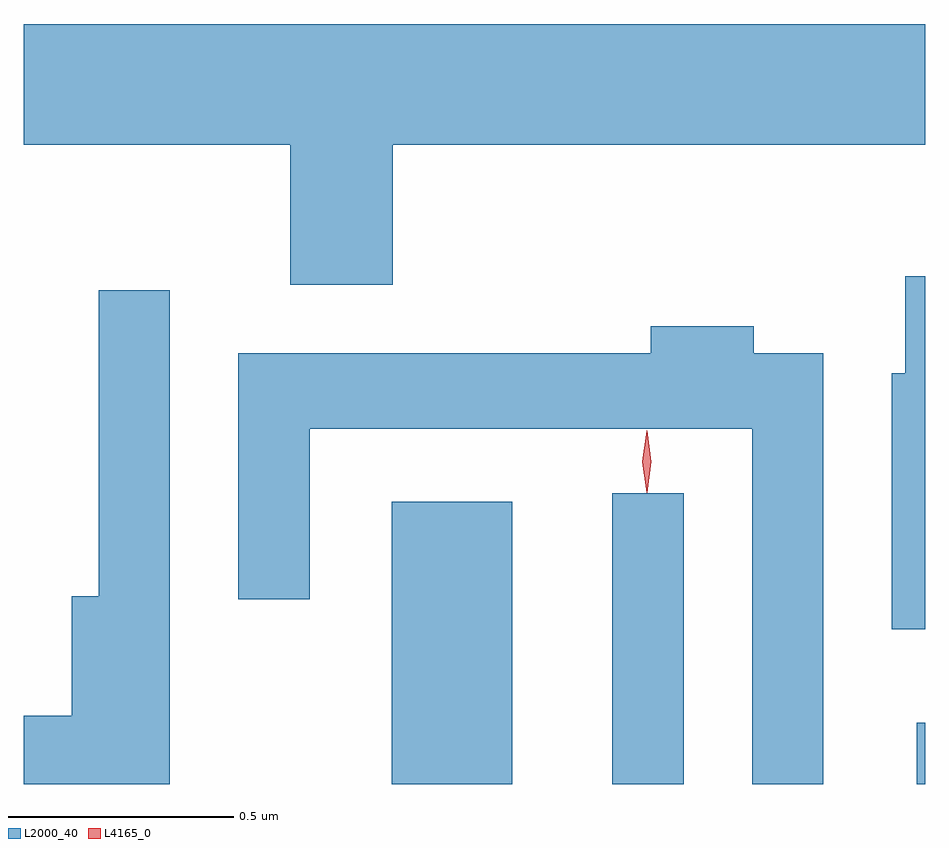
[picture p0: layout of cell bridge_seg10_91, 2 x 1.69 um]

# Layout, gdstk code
import gdstk
lib = gdstk.Library(unit=1e-6, precision=1e-09)
def R(c, l, rs):  # rectangles x0, y0, x1, y1
    for r in rs: c.add(gdstk.rectangle(r[:2], r[2:], *l))
def P(c, l, *ps):  # polygons
    for p in ps: c.add(gdstk.Polygon(p, *l))
L2000_40 = (2000, 40)
L4165_0 = (4165, 0)

bridge_seg10_91 = lib.new_cell('bridge_seg10_91')
R(bridge_seg10_91, L2000_40, [(1583.156,2203.518,1583.424,2204.144), (1583.646,2203.518,1583.804,2204.163), (1584.321,2203.518,1584.34,2203.654)])
P(bridge_seg10_91, L2000_40, [(1583.159,2204.936),(1584.34,2204.936),(1584.34,2205.204),(1582.34,2205.204),(1582.34,2204.936),(1582.931,2204.936),(1582.931,2204.626),(1583.159,2204.626)],
  [(1584.34,2204.644),(1584.296,2204.644),(1584.296,2204.429),(1584.266,2204.429),(1584.266,2203.861),(1584.34,2203.861)],
  [(1582.664,2204.613),(1582.506,2204.613),(1582.506,2203.934),(1582.446,2203.934),(1582.446,2203.669),(1582.34,2203.669),(1582.34,2203.518),(1582.664,2203.518)],
  [(1584.114,2204.474),(1583.959,2204.474),(1583.959,2204.534),(1583.731,2204.534),(1583.731,2204.474),(1582.816,2204.474),(1582.816,2203.928),(1582.974,2203.928),(1582.974,2204.306),(1583.956,2204.306),(1583.956,2203.518),(1584.114,2203.518)])
P(bridge_seg10_91, L4165_0, [(1583.722,2204.164),(1583.722,2204.164),(1583.712,2204.233),(1583.722,2204.302),(1583.722,2204.303),(1583.723,2204.302),(1583.732,2204.233),(1583.723,2204.164)])

lib.write_gds('bridge_seg10_91.gds')
